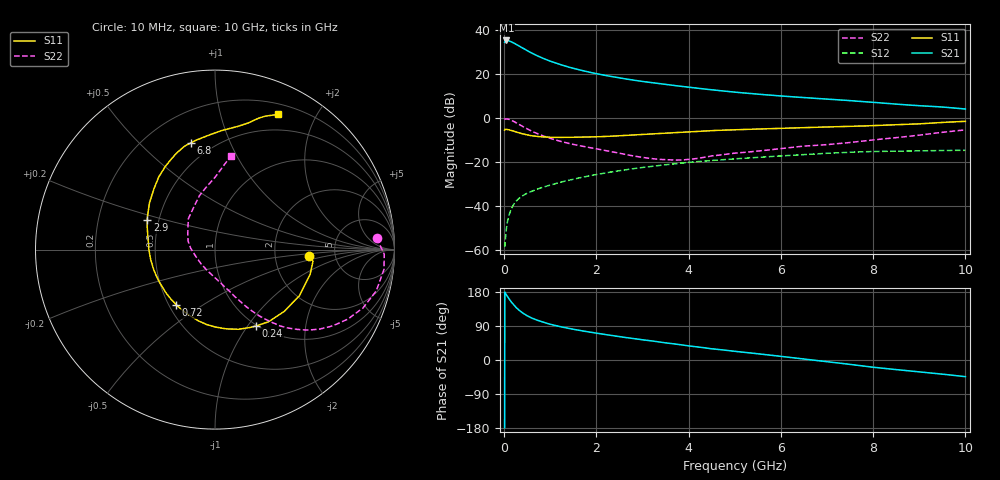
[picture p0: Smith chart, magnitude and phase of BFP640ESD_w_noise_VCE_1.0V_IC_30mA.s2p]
! (c) 2016  Infineon Technologies AG, Munich
! Infineon Technologies  Discrete & RF Semiconductors
! BFP640ESD
! VCE =  1.0 V,  IC =  30 mA
! Common Emitter S-Parameters:  Jan 2016
# GHz  S  MA  R  50
!  f  S11  S21  S12  S22
! GHz  MAG  ANG  MAG  ANG  MAG  ANG  MAG  ANG
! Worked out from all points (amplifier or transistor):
!   233 points, 10 MHz to 10 GHz, reference 50 ohm
!   highest |S21| = 35.2 dB at 50 MHz (marker M1)
!   |S21| within 3 dB of that: start of sweep to 362.9 MHz
!   unconditionally stable (mu >= 1): 2.038 GHz to 9.153 GHz
!   at 200 MHz: K = 0.28, MSG = 36.9 dB, |S12| = -39.7 dB
!   at 1.74 GHz: K = 0.97, MSG = 24.1 dB, |S12| = -26.9 dB
!   at 10 GHz: K = 0.91, MSG = 9.4 dB, |S12| = -14.8 dB
!   lowest NFmin = 1.09 dB at 450 MHz
!   S11 on the Smith chart (normalised r, x): 10 MHz: 3.16, -0.32; 240 MHz: 0.99, -1.10; 720 MHz: 0.55, -0.39; 2.9 GHz: 0.43, +0.17; 6.8 GHz: 0.38, +0.73; 10 GHz: 0.31, +1.52
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0.01  0.5236 -4.0  52.2 -179.0  0.0013 116.5  0.9025 4.1
0.02  0.5498 -6.7  57.26 177.6  0.0013 84.1  0.9435 -1.6
0.05  0.5478 -14.7  57.49 171.5  0.0031 83.8  0.9478 -6.7
0.1  0.5361 -28.6  56.75 162.5  0.0058 78.0  0.9274 -14.4
0.15  0.517 -41.8  53.81 153.8  0.0082 73.6  0.8859 -21.6
0.2  0.5006 -53.5  51.02 146.4  0.0104 70.1  0.8355 -27.6
0.24  0.4832 -61.7  48.32 141.0  0.0119 67.5  0.7931 -31.7
0.3  0.4627 -73.6  44.46 133.7  0.014 64.7  0.7314 -37.3
0.34  0.4485 -80.4  42.02 129.8  0.0152 63.4  0.6911 -40.4
0.45  0.4197 -96.6  36 120.3  0.0181 60.6  0.5958 -47.1
0.6  0.3901 -113.9  29.61 110.6  0.0214 59.0  0.4942 -53.2
0.72  0.3753 -125.1  25.72 104.9  0.0239 58.6  0.4357 -56.7
0.9  0.3644 -138.5  21.34 97.6  0.0275 58.4  0.369 -60.9
1.1  0.3588 -150.1  17.83 91.3  0.0316 58.5  0.3159 -64.4
1.68  0.3633 -173.4  11.98 77.2  0.0441 57.6  0.2269 -73.4
2.2  0.3765 171.9  9.172 67.0  0.0557 55.2  0.1797 -82.6
2.9  0.4122 156.2  6.95 55.0  0.0718 50.3  0.1303 -105.0
3.4  0.4412 146.4  5.911 47.0  0.0831 45.9  0.1128 -127.3
5.1  0.539 121.0  3.749 21.6  0.1182 29.8  0.1599 159.9
6.8  0.61 102.7  2.747 -1.4  0.1516 13.3  0.2375 125.8
8.4  0.6852 81.8  2.082 -24.1  0.1732 -5.2  0.3446 99.2
10  0.8304 65.1  1.584 -44.0  0.1821 -20.2  0.5306 80.3
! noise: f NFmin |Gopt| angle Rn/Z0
0.45  1.09  0.19  -166  0.09
0.9  1.1  0.19  -163  0.09
1.9  1.11  0.23  -136  0.12
2.4  1.13  0.25  -130  0.12
5.5  1.34  0.43  -104  0.18
10  1.91  0.59  -74  0.79
